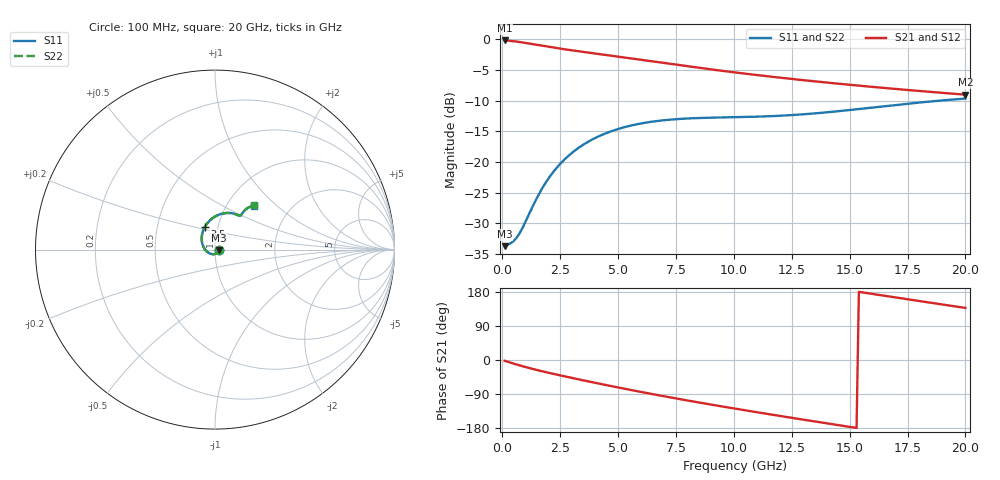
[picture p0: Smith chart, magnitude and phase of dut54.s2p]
! Touchstone file exported from HFSS 2023.1.0
!  File:  D:/Users/fzz/RDL_TSV/temp_RDL_TSV_54_1778745724.aedt
!  Generated:  4:10:42 %x4E0B%x5348  5%x6708 14, 2026
!  Design:  RDL_TSV
!  Project:  temp_RDL_TSV_54_1778745724
!  Setup:  Setup1
!  Solution:  Sweep
! Variables:
!  dtsv = 20.13um
!  hbump = 3um
!  htsv = 59.52um
!  ldown = 176.93um
!  lrdl = 590.91um
!  p = 40
!  p1 = 46.23um
!  rhole = 10um
!  subl = 2894.43um
!  t = 450um
!  tdown = 3.95um
!  trdl = 2.18um
!  viad = 10um
!  wdown = 21.09um
!  wrdl = 21.1um
!  xbump = 18um
# GHz S MA R 50.000000
! Terminal data exported
! Port[1] = TM1_1_T1
! Port[2] = TM1_4_T1
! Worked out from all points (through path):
!   200 points, 100 MHz to 20 GHz, reference 50 ohm
!   highest |S21| = -0.19 dB at 100 MHz (marker M1); lowest = -9.0 dB at 20 GHz (marker M2)
!   group delay of S21, straight-line fit = 29.6 ps
!   lowest |S11| = -33.7 dB at 100 MHz (marker M3), VSWR 1.04, Z = 52 - j0.459 ohm
!   |S11| at or under -10 dB: start of sweep to 18.9 GHz
!   |S22| runs from -33.7 to -9.7 dB; largest |S21 - S12| = 1.9e-14
!   S11 on the Smith chart (normalised r, x): 100 MHz: 1.04, -0.01; 3.5 GHz: 0.87, +0.22; 20 GHz: 1.33, +0.73
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0.1  0.02055 -12.4  0.9788 -2.0  0.9788 -2.0  0.02055 -12.4
! Gamma 0 0 0 0
! Port Impedance 50 0 50 0
0.5  0.02273 -68.1  0.9644 -9.8  0.9644 -9.8  0.02273 -68.1
0.7  0.02532 -95.9  0.9532 -13.4  0.9532 -13.4  0.02532 -96.0
1.1  0.03564 -142.1  0.9271 -20.2  0.9271 -20.2  0.03563 -142.1
1.6  0.05543 179.9  0.8934 -28.0  0.8934 -28.0  0.05542 179.8
2  0.0735 159.3  0.8682 -33.7  0.8682 -33.7  0.0735 159.3
2.4  0.09184 143.7  0.8451 -39.2  0.8451 -39.2  0.09184 143.7
2.9  0.114 128.5  0.8187 -45.9  0.8187 -45.9  0.114 128.5
3.5  0.1383 114.2  0.7893 -53.7  0.7893 -53.7  0.1383 114.2
4.2  0.1629 101.1  0.757 -62.6  0.757 -62.6  0.1629 101.1
5  0.1856 89.2  0.7216 -72.5  0.7216 -72.5  0.1856 89.2
5.9  0.2044 78.6  0.6833 -83.2  0.6833 -83.2  0.2044 78.6
6.8  0.2169 70.4  0.6471 -93.6  0.6471 -93.6  0.2169 70.4
8.4  0.2278 60.3  0.5885 -111.2  0.5885 -111.2  0.2277 60.4
9.2  0.23 57.2  0.5624 -119.6  0.5624 -119.6  0.23 57.2
10.1  0.2318 54.8  0.5355 -128.8  0.5355 -128.8  0.2317 54.9
11.7  0.2366 53.1  0.4935 -144.8  0.4935 -144.8  0.2365 53.2
13.4  0.2479 53.1  0.4559 -161.3  0.4559 -161.3  0.2479 53.2
15  0.265 53.1  0.4257 -176.4  0.4257 -176.4  0.265 53.2
16.7  0.2874 52.3  0.3979 167.7  0.3979 167.7  0.2875 52.4
18.4  0.31 50.5  0.3737 152.0  0.3737 152.0  0.3102 50.6
20  0.3288 48.2  0.3537 137.5  0.3537 137.5  0.3292 48.3
